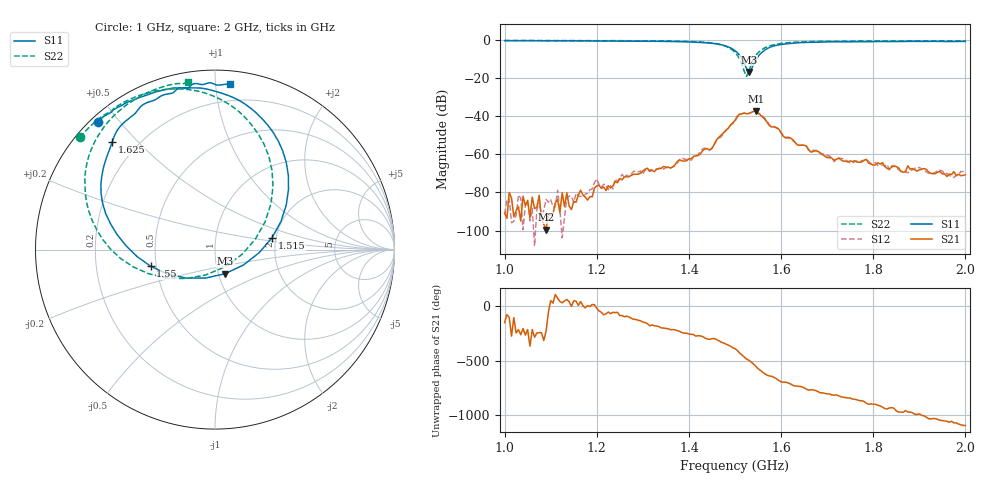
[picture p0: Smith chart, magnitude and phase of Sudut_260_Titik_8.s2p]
# Hz S RI R 50
! CMT, C1220, 16058040, 17.2.0/1
! Date: 14/08/2018 12:08:10
! Data: Format (Calibration Info)
! Freq  S11: Re/Im (F2)  S21: Re/Im (F2)  S12: Re/Im (F2)  S22: Re/Im (F2)
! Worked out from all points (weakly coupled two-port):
!   201 points, 1 GHz to 2 GHz, reference 50 ohm
!   highest |S21| = -37.33 dB at 1.545 GHz (marker M1); lowest = -99.5 dB at 1.09 GHz (marker M2)
!   lowest |S11| = -16.7 dB at 1.53 GHz (marker M3), VSWR 1.34, Z = 54 - j14.8 ohm
!   |S11| at or under -10 dB: 1.515 GHz to 1.546 GHz (30.91 MHz wide, 2.02 % of centre)
!   |S22| runs from -19.1 to -0.2 dB; largest |S21 - S12| = 0.00059
!   S11 on the Smith chart (normalised r, x): 1 GHz: 0.02, +0.44; 1.515 GHz: 1.90, +0.28; 1.55 GHz: 0.47, -0.10; 1.625 GHz: 0.11, +0.42; 2 GHz: 0.09, +1.09
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1e9  -0.6545 0.7098  -2.55e-05 -1.34e-05  -2.4e-05 -1.22e-05  -0.7536 0.6255
1.09e9  -0.5697 0.7747  -6.8e-06 8.18e-06  -2.91e-06 6.61e-05  -0.6882 0.6929
1.17e9  -0.4869 0.8216  8.51e-05 1.7e-06  7.23e-05 1.72e-05  -0.6163 0.7513
1.2e9  -0.4457 0.8368  0.000138 -5.48e-05  0.00021 -8.84e-05  -0.5824 0.7649
1.225e9  -0.4176 0.8483  8.3e-05 -0.000124  6.8e-05 -9.59e-05  -0.5662 0.7837
1.255e9  -0.363 0.8671  9.62e-06 -0.000215  1.34e-05 -0.0003  -0.5289 0.8088
1.335e9  -0.2303 0.9001  -0.000422 6.68e-05  -0.000405 9.4e-05  -0.3997 0.8662
1.45e9  0.1727 0.8072  0.000672 0.00125  0.000762 0.00128  0.0256 0.8396
1.5e9  0.4095 0.3353  0.00679 -0.00385  0.00634 -0.00368  0.3231 0.3517
1.515e9  0.3175 0.0656  0.000334 -0.0116  0.000617 -0.0116  0.2256 0.0593
1.525e9  0.1593 -0.0854  -0.00665 -0.00957  -0.00663 -0.00968  0.0558 -0.0958
1.53e9  0.0577 -0.1336  -0.00844 -0.00825  -0.00848 -0.00833  -0.0515 -0.1414
1.545e9  -0.2653 -0.1358  -0.0133 0.00278  -0.0132 0.00245  -0.37 -0.1342
1.55e9  -0.3582 -0.0931  -0.0104 0.00656  -0.0106 0.00616  -0.455 -0.0968
1.58e9  -0.6264 0.2587  0.00117 0.00509  0.00148 0.00523  -0.7028 0.2132
1.625e9  -0.5728 0.5979  0.00246 -0.000147  0.0023 -8.71e-05  -0.703 0.52
1.67e9  -0.4618 0.7444  0.00081 -0.000885  0.000898 -0.000916  -0.6257 0.6734
1.715e9  -0.3766 0.8195  -6.31e-05 -0.0007  -0.000106 -0.000632  -0.5503 0.7588
1.785e9  -0.236 0.8726  -0.000726 -0.000152  -0.000684 -0.000238  -0.4444 0.8377
1.835e9  -0.1612 0.8992  -0.000348 0.000214  -0.000351 0.00017  -0.3753 0.8744
1.975e9  0.0459 0.9193  0.000345 6.94e-05  0.000242 5.47e-05  -0.1787 0.9246
2e9  0.0853 0.9213  0.000285 -5.68e-05  0.000319 -0.00012  -0.1509 0.9337
